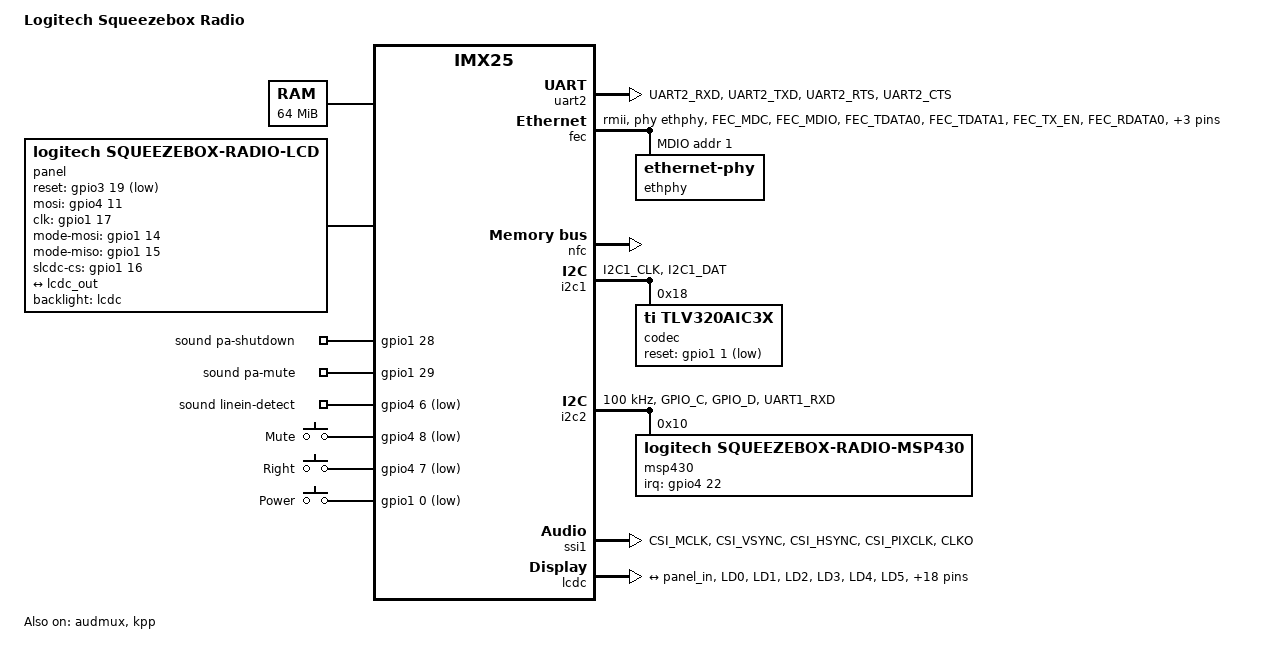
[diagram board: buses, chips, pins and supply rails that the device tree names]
// SPDX-License-Identifier: GPL-2.0
/*
 * Logitech Squeezebox Radio ("Baby"), board revision 7 as reported by RedBoot.
 *
 * RedBoot boots zImage from RAM with this DTB appended; its ATAGs supply the
 * memory range, command line, board revision and UUID. Hardware values are
 * traced to the legacy 2.6.26 SqueezeOS board code and patches
 * (mx25_baby*.c, baby-*.patch). No FEC PHY reset GPIO is described: legacy
 * code leaves PHY reset to the bootloader.
 */

/dts-v1/;
#include <dt-bindings/gpio/gpio.h>
#include <dt-bindings/interrupt-controller/irq.h>
#include <dt-bindings/input/input.h>

#include "imx25.dtsi"

/ {
	model = "Logitech Squeezebox Radio";
	compatible = "logitech,squeezebox-radio", "fsl,imx25";

	/*
	 * The appended-DTB boot on 2026-07-28 reached mainline Linux with
	 * the RedBoot ATAG memory range converted to 0x80000000-0x83ffffff.
	 * RedBoot's `version` display instead reports its logical RAM window
	 * as 0x00000000-0x03f00000; retain the physical range observed by
	 * Linux and keep ATAG-to-FDT compatibility enabled.
	 */
	memory@80000000 {
		device_type = "memory";
		reg = <0x80000000 0x04000000>;
	};

	chosen {
		/*
		 * Merged ahead of the RedBoot command line by
		 * CONFIG_ARM_ATAG_DTB_COMPAT_CMDLINE_EXTEND.
		 * - The 512 KiB default PCM preallocation does not fit the
		 *   128 KiB IRAM (see &sdma); 64 KiB matches the legacy
		 *   SND_RAM_SIZE.
		 * - No text cursor: fbcon on tty1 only shows the boot logo
		 *   (the console is the UART), and stock showed no cursor.
		 * - ubiblock devices for both CramFS volumes: the RedBoot boot
		 *   script passes only the stock os_cmdline ("ubi.mtd=1
		 *   root=/dev/mtdblock:cramfs%{os_backup}"), and the initramfs
		 *   mounts the volume named by root=.
		 */
		bootargs = "snd_soc_core.prealloc_buffer_size_kbytes=64 vt.global_cursor_default=0 ubi.block=0,cramfs ubi.block=0,cramfs_bak";
		stdout-path = &uart2;
	};

	/*
	 * Legacy panel timing (baby-video.patch) for imx-lcdc. The flags give
	 * the polarity bits of the legacy PCR 0xfad08b80: active-low HSYNC,
	 * VSYNC and output enable (LPPOL, FLMPOL, OEPOL set) and CLKPOL clear
	 * (imx-lcdc maps pixelclk-active = <1> to CLKPOL = 0). imx-lcdc leaves
	 * ACDSEL/ACD clear (0x8b00 in the legacy PCR) and LSCR at its reset
	 * value; the picture was correct on hardware without them. Supply
	 * topology is unknown.
	 *
	 * The driver (squeezebox-lcd-init.c) sends the legacy 9-bit GPIO
	 * sequence once the LCDC is scanning and then enables the LCDC
	 * backlight, as legacy did; earlier backlight gives a white flash.
	 */
	panel {
		compatible = "logitech,squeezebox-radio-lcd";
		pinctrl-names = "default";
		pinctrl-0 = <&pinctrl_lcd_control>;
		reset-gpios = <&gpio3 19 GPIO_ACTIVE_LOW>;
		mosi-gpios = <&gpio4 11 GPIO_ACTIVE_HIGH>;
		cs-gpios = <&gpio4 10 GPIO_ACTIVE_HIGH>;
		clk-gpios = <&gpio1 17 GPIO_ACTIVE_HIGH>;
		mode-mosi-gpios = <&gpio1 14 GPIO_ACTIVE_HIGH>;
		mode-miso-gpios = <&gpio1 15 GPIO_ACTIVE_HIGH>;
		slcdc-cs-gpios = <&gpio1 16 GPIO_ACTIVE_HIGH>;
		/* mxc_lcdc_bl.0, the LCDC contrast PWM */
		backlight = <&lcdc>;

		panel-timing {
			clock-frequency = <7246377>;
			hactive = <240>;
			hback-porch = <20>;
			hfront-porch = <20>;
			hsync-len = <50>;
			vactive = <320>;
			vback-porch = <3>;
			vfront-porch = <3>;
			vsync-len = <3>;
			hsync-active = <0>;
			vsync-active = <0>;
			de-active = <0>;
			pixelclk-active = <1>;
		};

		port {
			panel_in: endpoint {
				remote-endpoint = <&lcdc_out>;
			};
		};
	};

	sound {
		compatible = "logitech,squeezebox-radio-audio";
		pinctrl-names = "default";
		pinctrl-0 = <&pinctrl_audio_control>;
		model = "Logitech Squeezebox Radio";
		clocks = <&clks 129>;
		clock-names = "mclk";
		/*
		 * OSC is 24 MHz; the CKO divider produces the
		 * legacy-confirmed 12 MHz codec MCLK before this device probes.
		 */
		assigned-clocks = <&clks 128>, <&clks 127>;
		assigned-clock-parents = <&clks 1>;
		assigned-clock-rates = <0>, <12000000>;
		cpu-dai = <&ssi1>;
		audio-codec = <&codec>;
		fsl,mux-int-port = <1>;
		fsl,mux-ext-port = <6>;
		pa-shutdown-gpios = <&gpio1 28 GPIO_ACTIVE_HIGH>;
		pa-mute-gpios = <&gpio1 29 GPIO_ACTIVE_HIGH>;
		linein-detect-gpios = <&gpio4 6 GPIO_ACTIVE_LOW>;
	};

	/*
	 * Legacy baby_buttons.c: three active-low GPIO switches with a 50 ms
	 * debounce (baby-debounce.patch raised it from 5 ms). The volume and
	 * navigation encoders remain MSP430-owned; these are their discrete
	 * press switches. RedBoot reports system revision 7, selecting the
	 * GPIO_A power switch used by legacy board code for revisions >= 3.
	 */
	gpio-keys {
		compatible = "gpio-keys";
		pinctrl-names = "default";
		pinctrl-0 = <&pinctrl_buttons>;

		button-mute {
			label = "Mute";
			gpios = <&gpio4 8 GPIO_ACTIVE_LOW>;
			linux,code = <KEY_MUTE>;
			debounce-interval = <50>;
		};

		button-right {
			label = "Right";
			gpios = <&gpio4 7 GPIO_ACTIVE_LOW>;
			linux,code = <KEY_RIGHT>;
			debounce-interval = <50>;
		};

		button-power {
			label = "Power";
			gpios = <&gpio1 0 GPIO_ACTIVE_LOW>;
			linux,code = <KEY_POWER>;
			debounce-interval = <50>;
		};
	};
};

&iomuxc {
	pinctrl_buttons: buttonsgrp {
		fsl,pins = <
			/*
			 * baby-base.patch configured D12/D13 with Schmitt input
			 * hysteresis and no internal pull. GPIO_A uses the legacy
			 * 22K pull-up for the revision >= 3 power switch.
			 */
			MX25_PAD_D12__GPIO_4_8		0x00000100
			MX25_PAD_D13__GPIO_4_7		0x00000100
			MX25_PAD_GPIO_A__GPIO_1_0	0x000000f0
		>;
	};

	pinctrl_uart2: uart2grp {
		fsl,pins = <
			MX25_PAD_UART2_RXD__UART2_RXD	0x80000000
			MX25_PAD_UART2_TXD__UART2_TXD	0x80000000
			MX25_PAD_UART2_RTS__UART2_RTS	0x80000000
			MX25_PAD_UART2_CTS__UART2_CTS	0x80000000
		>;
	};

	pinctrl_fec: fecgrp {
		fsl,pins = <
			MX25_PAD_FEC_MDC__FEC_MDC		0x000000e0
			MX25_PAD_FEC_MDIO__FEC_MDIO		0x000001f0
			MX25_PAD_FEC_TDATA0__FEC_TDATA0	0x000000e0
			MX25_PAD_FEC_TDATA1__FEC_TDATA1	0x000000e0
			MX25_PAD_FEC_TX_EN__FEC_TX_EN		0x000000e0
			MX25_PAD_FEC_RDATA0__FEC_RDATA0	0x000001f0
			MX25_PAD_FEC_RDATA1__FEC_RDATA1	0x000001f0
			MX25_PAD_FEC_RX_DV__FEC_RX_DV		0x000001f0
			MX25_PAD_FEC_TX_CLK__FEC_TX_CLK	0x000001f0
		>;
	};

	pinctrl_lcd_rgb: lcd_rgbgrp {
		fsl,pins = <
			MX25_PAD_LD0__LD0		0x000000e5
			MX25_PAD_LD1__LD1		0x000000e5
			MX25_PAD_LD2__LD2		0x000000e5
			MX25_PAD_LD3__LD3		0x000000e5
			MX25_PAD_LD4__LD4		0x000000e5
			MX25_PAD_LD5__LD5		0x000000e5
			MX25_PAD_LD6__LD6		0x000000e5
			MX25_PAD_LD7__LD7		0x000000e5
			MX25_PAD_LD8__LD8		0x000000e5
			MX25_PAD_LD9__LD9		0x000000e5
			MX25_PAD_LD10__LD10		0x000000e5
			MX25_PAD_LD11__LD11		0x000000e5
			MX25_PAD_LD12__LD12		0x000000e5
			MX25_PAD_LD13__LD13		0x000000e5
			MX25_PAD_LD14__LD14		0x000000e5
			MX25_PAD_LD15__LD15		0x000000e5
			MX25_PAD_GPIO_E__LD16		0x000000e5
			MX25_PAD_GPIO_F__LD17		0x000000e5
			MX25_PAD_HSYNC__HSYNC		0x000000e5
			MX25_PAD_VSYNC__VSYNC		0x000000e5
			MX25_PAD_LSCLK__LSCLK		0x00000000
			MX25_PAD_OE_ACD__OE_ACD	0x000000e5
			MX25_PAD_CONTRAST__CONTRAST	0x000000e5
		>;
	};

	pinctrl_lcd_control: lcd_controlgrp {
		fsl,pins = <
			MX25_PAD_D9__GPIO_4_11		0x00000002
			MX25_PAD_D10__GPIO_4_10	0x00000002
			MX25_PAD_CSPI1_SS1__GPIO_1_17	0x00000002
			MX25_PAD_POWER_FAIL__GPIO_3_19	0x00000002
			MX25_PAD_CSPI1_MOSI__GPIO_1_14	0x00000000
			MX25_PAD_CSPI1_MISO__GPIO_1_15	0x00000000
			MX25_PAD_CSPI1_SS0__GPIO_1_16	0x00000000
		>;
	};

	pinctrl_lcd_backlight: lcd_backlightgrp {
		fsl,pins = <
			MX25_PAD_D11__GPIO_4_9		0x000000e0
		>;
	};

	pinctrl_audio_i2c: audio-i2cgrp {
		fsl,pins = <
			MX25_PAD_I2C1_CLK__I2C1_CLK	0x80000000
			MX25_PAD_I2C1_DAT__I2C1_DAT	0x80000000
		>;
	};

	pinctrl_msp_i2c: msp-i2cgrp {
		fsl,pins = <
			MX25_PAD_GPIO_C__I2C2_SCL	0x1e8
			MX25_PAD_GPIO_D__I2C2_SDA	0x1e8
		>;
	};

	pinctrl_msp_irq: msp-irqgrp {
		fsl,pins = <
			MX25_PAD_UART1_RXD__GPIO_4_22	0x21d0
		>;
	};

	pinctrl_audio_control: audio-controlgrp {
		fsl,pins = <
			MX25_PAD_CSI_D3__GPIO_1_28	0x000000e0
			MX25_PAD_CSI_D4__GPIO_1_29	0x000000e0
			MX25_PAD_D14__GPIO_4_6		0x000000e0
		>;
	};

	pinctrl_audio_reset: audio-resetgrp {
		fsl,pins = <
			MX25_PAD_GPIO_B__GPIO_1_1	0x000000e0
		>;
	};

	pinctrl_audio_ssi: audio-ssigrp {
		fsl,pins = <
			/*
			 * BABY_DAC_PAD_CFG: 3.3 V, Schmitt input, no pull/keeper,
			 * normal drive, slow slew. Read back on hardware, only
			 * CSI_PIXCLK (frame sync) implements HYS; CSI_MCLK,
			 * CSI_VSYNC and CSI_HSYNC (bit clock) hold bits 0xf1
			 * only, so Schmitt has no effect there, as on legacy.
			 */
			MX25_PAD_CSI_MCLK__AUD6_TXD	0x00000100
			MX25_PAD_CSI_VSYNC__AUD6_RXD	0x00000100
			MX25_PAD_CSI_HSYNC__AUD6_TXC	0x00000100
			MX25_PAD_CSI_PIXCLK__AUD6_TXFS	0x00000100
			MX25_PAD_CLKO__CLKO		0x00000000
		>;
	};

	pinctrl_kpp: kppgrp {
		fsl,pins = <
			/* Legacy KPP_PAD_CTL_ROW: PKE | PUE | 100K pull-up. */
			MX25_PAD_KPP_ROW0__KPP_ROW0	0x000000e0
			MX25_PAD_KPP_ROW1__KPP_ROW1	0x000000e0
			MX25_PAD_KPP_ROW2__KPP_ROW2	0x000000e0
			MX25_PAD_KPP_ROW3__KPP_ROW3	0x000000e0
			/*
			 * Legacy KPP_PAD_CTL_COL additionally enables
			 * open-drain.
			 */
			MX25_PAD_KPP_COL0__KPP_COL0	0x000000e8
			MX25_PAD_KPP_COL1__KPP_COL1	0x000000e8
			MX25_PAD_KPP_COL2__KPP_COL2	0x000000e8
			MX25_PAD_KPP_COL3__KPP_COL3	0x000000e8
		>;
	};
};

&uart2 {
	pinctrl-names = "default";
	pinctrl-0 = <&pinctrl_uart2>;
	status = "okay";
};

&fec {
	pinctrl-names = "default";
	pinctrl-0 = <&pinctrl_fec>;
	phy-mode = "rmii";
	phy-handle = <&ethphy>;
	status = "okay";

	mdio {
		#address-cells = <1>;
		#size-cells = <0>;

		ethphy: ethernet-phy@1 {
			reg = <1>;
		};
	};
};

/*
 * The live NAND probe confirms the i.MX25 NFC exposes a Samsung 128 MiB,
 * 8-bit SLC part with 128 KiB eraseblocks, 2 KiB pages, and 64-byte OOB.
 * Legacy board code provides the two partition ranges and enables hardware
 * ECC. The final six eraseblocks remain unassigned: the legacy UBI attach
 * range ends at 0x07f40000, so describing the full device would invent a use
 * for that tail.
 */
&nfc {
	#address-cells = <1>;
	#size-cells = <1>;
	/*
	 * `nand-on-flash-bbt` is intentionally absent: legacy source does not
	 * establish an on-flash BBT, and creating one would write the NAND.
	 */
	nand-bus-width = <8>;
	nand-ecc-mode = "hw";
	status = "okay";

	/* RedBoot itself: never written from Linux. */
	partition@0 {
		label = "redboot";
		reg = <0x00000000 0x00080000>;
		read-only;
	};

	/*
	 * SqueezeOS UBI: stock kernels, CramFS root and the "ubifs" settings
	 * volume. Writable so the settings volume can be mounted read-write
	 * like on stock firmware; only UBIFS and UBI housekeeping write here.
	 */
	partition@80000 {
		label = "ubi";
		reg = <0x00080000 0x07ec0000>;
	};
};

/*
 * Codec probing retains the legacy reset line.  The machine driver owns PA
 * power only after it establishes the codec, SSI, and AUDMUX card.
 */
&i2c1 {
	pinctrl-names = "default";
	pinctrl-0 = <&pinctrl_audio_i2c>;
	status = "okay";

	codec: codec@18 {
		compatible = "ti,tlv320aic3x";
		reg = <0x18>;
		reset-gpios = <&gpio1 1 GPIO_ACTIVE_LOW>;
		pinctrl-names = "default";
		pinctrl-0 = <&pinctrl_audio_reset>;
		/* Legacy codec register 40 selected a 1.65 V output bias. */
		ai3x-ocmv = <2>;
	};
};

/*
 * The MSP430 is the source of the rotary/volume encoder, IR, RTC, and
 * battery/charger telemetry.  The interrupt is open-collector: idle high,
 * asserted low.
 */
&i2c2 {
	pinctrl-names = "default";
	pinctrl-0 = <&pinctrl_msp_i2c &pinctrl_msp_irq>;
	clock-frequency = <100000>;
	status = "okay";

	msp430: msp430@10 {
		compatible = "logitech,squeezebox-radio-msp430";
		reg = <0x10>;
		interrupt-parent = <&gpio4>;
		interrupts = <22 IRQ_TYPE_LEVEL_LOW>;
		/* Legacy power-off writes 0xde to MSP430 register 99. */
		system-power-controller;
	};
};

&audmux {
	status = "okay";
};

&ssi1 {
	pinctrl-names = "default";
	pinctrl-0 = <&pinctrl_audio_ssi>;
	status = "okay";
};

/*
 * Legacy audio kept the PCM buffer and SDMA descriptors in on-chip IRAM
 * (CONFIG_SND_MXC_SOC_IRAM, CONFIG_SDMA_IRAM). imx-sdma allocates its
 * descriptors there and feeds the SSI from IRAM with the per_2_shp script;
 * the generic dmaengine PCM places the buffer in this pool when its
 * preallocation fits (64 KiB, set through /chosen/bootargs).
 */
&sdma {
	iram = <&iram>;
};

/*
 * The legacy 4x4 KPP matrix supplies the front-panel buttons.  Keep its
 * row-major map exactly: two physically absent positions remain unmapped.
 */
&kpp {
	pinctrl-names = "default";
	pinctrl-0 = <&pinctrl_kpp>;
	linux,keymap = <
		MATRIX_KEY(0, 0, KEY_PLAY)
		MATRIX_KEY(0, 1, KEY_KPPLUS)
		MATRIX_KEY(0, 2, KEY_LEFT)
		MATRIX_KEY(0, 3, KEY_HOME)
		MATRIX_KEY(1, 0, KEY_F1)
		MATRIX_KEY(1, 1, KEY_PLAYPAUSE)
		MATRIX_KEY(1, 2, KEY_NEXTSONG)
		MATRIX_KEY(1, 3, KEY_PREVIOUSSONG)
		MATRIX_KEY(2, 0, KEY_F5)
		MATRIX_KEY(2, 1, KEY_F4)
		MATRIX_KEY(2, 2, KEY_F3)
		MATRIX_KEY(2, 3, KEY_F2)
		MATRIX_KEY(3, 2, KEY_SLEEP)
		MATRIX_KEY(3, 3, KEY_F6)
	>;
	status = "okay";
};

/*
 * imx-lcdc DRM driver; its fbdev emulation provides /dev/fb0 (RGB565) for
 * SqueezePlay. imx25-squeezebox-radio-fbdev.dts binds the legacy imxfb.
 */
&lcdc {
	compatible = "fsl,imx25-lcdc", "fsl,imx21-lcdc";
	/*
	 * 0x00a903ff is the upstream i.MX25 LCDC contrast configuration;
	 * the low byte is the legacy mxc_lcdc_bl default intensity (127).
	 */
	fsl,lpccr = <0x00a9037f>;
	/* Legacy D11: 0 = normal, 1 = extra-low brightness (bl_power != 0). */
	backlight-low-power-gpios = <&gpio4 9 GPIO_ACTIVE_HIGH>;
	pinctrl-names = "default";
	pinctrl-0 = <&pinctrl_lcd_rgb>, <&pinctrl_lcd_backlight>;
	status = "okay";

	port {
		lcdc_out: endpoint {
			remote-endpoint = <&panel_in>;
		};
	};
};

/*
 * Legacy kernels had no DryIce driver, and the unit reports "Failure+Invalid
 * state" on this board. Keep it disabled so the MSP430 is the only RTC.
 */
&{/soc/bus@53f00000/dryice@53ffc000} {
	status = "disabled";
};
